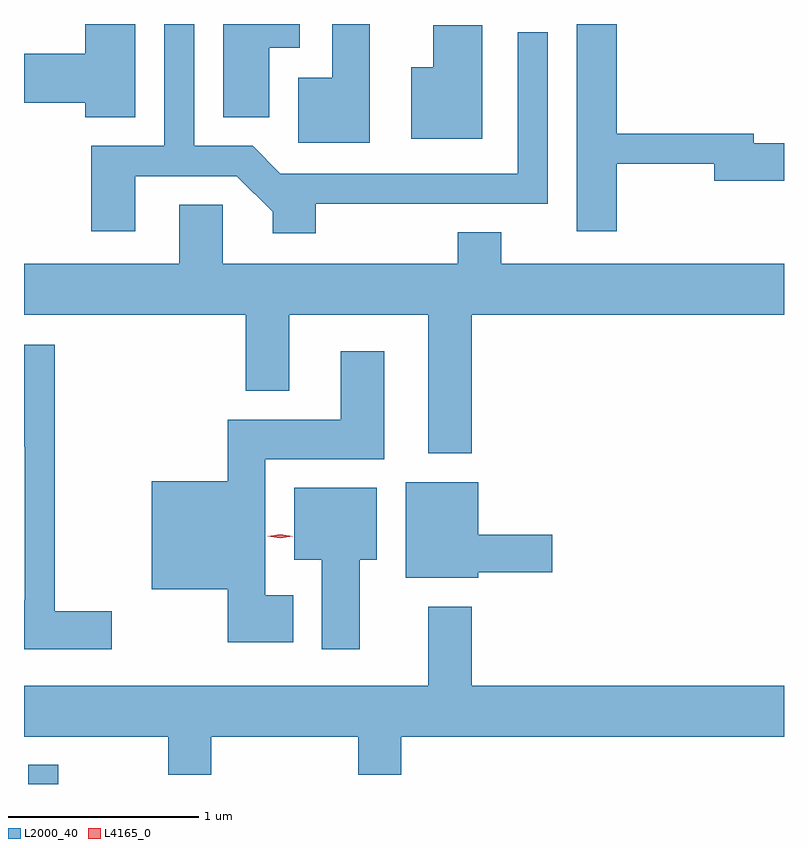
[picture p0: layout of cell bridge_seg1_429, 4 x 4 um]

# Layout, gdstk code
import gdstk
lib = gdstk.Library(unit=1e-6, precision=1e-09)
def R(c, l, rs):  # rectangles x0, y0, x1, y1
    for r in rs: c.add(gdstk.rectangle(r[:2], r[2:], *l))
def P(c, l, *ps):  # polygons
    for p in ps: c.add(gdstk.Polygon(p, *l))
L2000_40 = (2000, 40)
L4165_0 = (4165, 0)

bridge_seg1_429 = lib.new_cell('bridge_seg1_429')
R(bridge_seg1_429, L2000_40, [(362.986,846.046,363.144,846.148)])
P(bridge_seg1_429, L2000_40, [(363.549,850.046),(363.286,850.046),(363.286,849.889),(362.963,849.889),(362.963,849.631),(363.286,849.631),(363.286,849.556),(363.549,849.556)],
  [(364.254,849.921),(364.413,849.921),(364.413,850.046),(364.011,850.046),(364.011,849.556),(364.254,849.556)],
  [(364.784,850.046),(364.586,850.046),(364.586,849.764),(364.406,849.764),(364.406,849.421),(364.784,849.421)],
  [(366.084,849.311),(366.596,849.311),(366.596,849.221),(366.963,849.221),(366.963,849.419),(366.804,849.419),(366.804,849.469),(366.084,849.469),(366.084,850.046),(365.871,850.046),(365.871,848.956),(366.084,848.956)],
  [(364.499,849.101),(365.719,849.101),(365.719,850.003),(365.561,850.003),(365.561,849.259),(364.312,849.259),(364.167,849.404),(363.859,849.404),(363.859,850.046),(363.701,850.046),(363.701,849.404),(363.316,849.404),(363.316,848.956),(363.549,848.956),(363.549,849.246),(364.084,849.246),(364.271,849.059),(364.271,848.946),(364.499,848.946)],
  [(365.374,850.039),(365.116,850.039),(365.116,849.819),(365.001,849.819),(365.001,849.441),(365.374,849.441)],
  [(365.319,848.516),(366.963,848.516),(366.963,848.784),(365.474,848.784),(365.474,848.949),(365.246,848.949),(365.246,848.784),(364.009,848.784),(364.009,849.094),(363.781,849.094),(363.781,848.784),(362.963,848.784),(362.963,848.516),(364.131,848.516),(364.131,848.116),(364.359,848.116),(364.359,848.516),(365.091,848.516),(365.091,847.786),(365.319,847.786)],
  [(363.424,846.954),(363.124,846.954),(363.124,848.359),(362.963,848.359),(362.963,847.821),(362.966,847.821),(362.966,847.014),(362.963,847.014),(362.963,846.756),(363.424,846.756)],
  [(364.379,847.039),(364.234,847.039),(364.234,847.756),(364.859,847.756),(364.859,848.324),(364.631,848.324),(364.631,847.964),(364.036,847.964),(364.036,847.639),(363.636,847.639),(363.636,847.071),(364.036,847.071),(364.036,846.791),(364.379,846.791)],
  [(365.354,847.161),(365.744,847.161),(365.744,847.359),(365.354,847.359),(365.354,847.634),(364.971,847.634),(364.971,847.131),(365.354,847.131)],
  [(364.729,847.226),(364.819,847.226),(364.819,847.604),(364.386,847.604),(364.386,847.226),(364.531,847.226),(364.531,846.756),(364.729,846.756)],
  [(362.963,846.296),(363.721,846.296),(363.721,846.096),(363.949,846.096),(363.949,846.296),(364.721,846.296),(364.721,846.096),(364.949,846.096),(364.949,846.296),(366.963,846.296),(366.963,846.564),(365.319,846.564),(365.319,846.979),(365.091,846.979),(365.091,846.564),(362.963,846.564)])
P(bridge_seg1_429, L4165_0, [(364.312,847.34),(364.246,847.35),(364.246,847.35),(364.246,847.351),(364.312,847.36),(364.377,847.351),(364.378,847.35),(364.377,847.35)])

lib.write_gds('bridge_seg1_429.gds')
